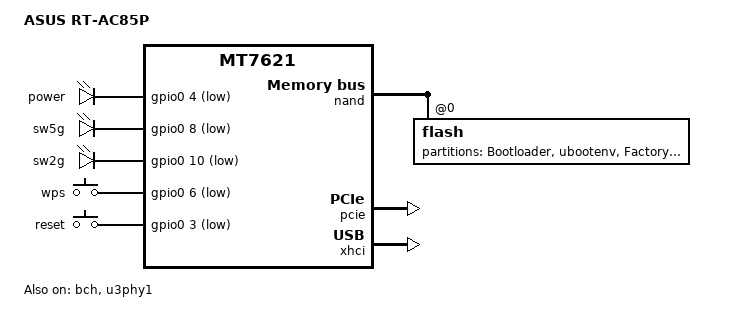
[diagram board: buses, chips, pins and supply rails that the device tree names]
/dts-v1/;

#include "mt7621.dtsi"
#include <dt-bindings/input/input.h>
#include "mt7621-raeth-gmac2.dtsi"
#include "mt7621-pinctrl-default-gpio.dtsi"

/ {
	compatible = "mediatek,mt7621-soc";
	model = "ASUS RT-AC85P";

	chosen {
		bootargs = "console=ttyS0,115200";
	};

	leds {
		compatible = "gpio-leds";


		power {
			label = "power";
			gpios = <&gpio0 4 GPIO_ACTIVE_LOW>;
		};

		wlan5g {
			label = "sw5g";
			gpios = <&gpio0 8 GPIO_ACTIVE_LOW>;
		};

		wlan2g {
			label = "sw2g";
			gpios = <&gpio0 10 GPIO_ACTIVE_LOW>;
		};
	};

	gpio-keys-polled {
		compatible = "gpio-keys-polled";
		#address-cells = <1>;
		#size-cells = <0>;
		poll-interval = <20>;

		wps {
			label = "wps";
			gpios = <&gpio0 6 GPIO_ACTIVE_LOW>;
			linux,code = <KEY_WPS_BUTTON>;
		};


		reset {
			label = "reset";
			gpios = <&gpio0 3 GPIO_ACTIVE_LOW>;
			linux,code = <KEY_RESTART>;
		};
	};

};

&bch {
	status = "okay";
};

&nand {
	status = "okay";

	flash@0 {
		reg = <0>;
		nand-ecc-mode = "hw";
		partitions {
			compatible = "fixed-partitions";
			#address-cells = <1>;
			#size-cells = <1>;

			
			partition@0 {
				label = "Bootloader";
				reg = <0x0 0xe0000>;
				read-only;
			};

			partition@e0000 {
				label = "ubootenv";
				reg = <0xe0000 0x100000>;
				read-only;
			};

			partition@1e0000 {
				label = "Factory";
				reg = <0x1e0000 0x100000>;
				read-only;
			};

			partition@2e0000 {
				label = "factory2";
				reg = <0x2e0000 0x100000>;
				read-only;
			};

			partition@3e0000 {
				label = "firmware";
				reg = <0x3e0000 0x1800000>;
			};

			partition@1BE0000  {
				label = "Config";
				reg = <0x1BE0000 0x80000>;		/* 512k */
			};

			partition@1c60000 {
				label = "Storage";
				reg = <0x1c60000 0x400000>;		/* 4m */
			};

			partition@2060000 {
				label = "RWFS";
				reg = <0x2060000 0x5F20000>;	
			};

			partition@all {
				label = "ALL";
				reg = <0x0 0x7f80000>;
			};

		};
	};
};

&pcie {
	status = "okay";
};

&xhci {
	status = "okay";
};

&u3phy1 {
	status = "okay";
};
